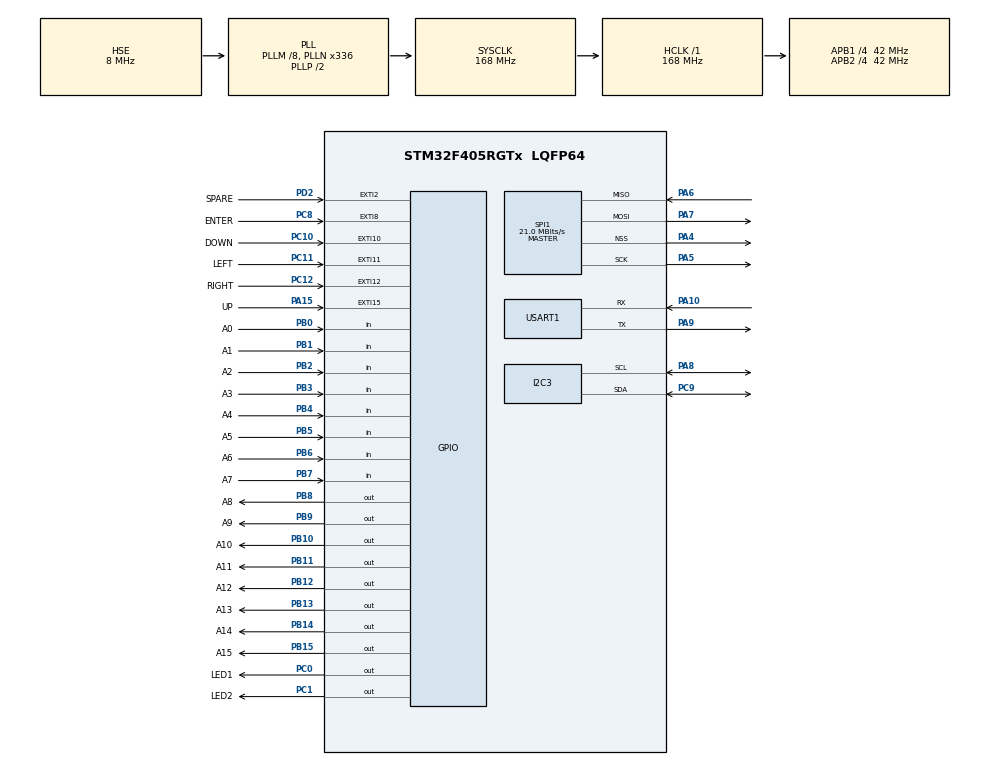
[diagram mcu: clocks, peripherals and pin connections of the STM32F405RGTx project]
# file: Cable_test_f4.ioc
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FREERTOS.Tasks01=defaultTask,0,128,StartDefaultTask,Default,NULL,Dynamic,NULL,NULL
Mcu.Family=STM32F4
Mcu.Name=STM32F405RGTx
Mcu.Package=LQFP64
NVIC.EXTI15_10_IRQn=true\:5\:0\:false\:false\:true\:true\:true\:true\:true
NVIC.EXTI2_IRQn=true\:5\:0\:false\:false\:true\:true\:true\:true\:true
NVIC.EXTI9_5_IRQn=true\:5\:0\:false\:false\:true\:true\:true\:true\:true
NVIC.PVD_IRQn=true\:5\:0\:false\:false\:true\:true\:true\:true\:true
NVIC.PriorityGroup=NVIC_PRIORITYGROUP_4
NVIC.TIM7_IRQn=true\:15\:0\:false\:false\:true\:false\:false\:true\:true
NVIC.TimeBase=TIM7_IRQn
NVIC.TimeBaseIP=TIM7
NVIC.USART1_IRQn=true\:5\:0\:false\:false\:true\:true\:true\:true\:true
PA10.Mode=Asynchronous
PA10.Signal=USART1_RX
PA13.Mode=Serial_Wire
PA13.Signal=SYS_JTMS-SWDIO
PA14.Mode=Serial_Wire
PA14.Signal=SYS_JTCK-SWCLK
PA15.GPIO_Label=UP
PA15.Signal=GPXTI15
PA4.Mode=NSS_Signal_Hard_Output
PA4.Signal=SPI1_NSS
PA5.Mode=Full_Duplex_Master
PA5.Signal=SPI1_SCK
PA6.Mode=Full_Duplex_Master
PA6.Signal=SPI1_MISO
PA7.Mode=Full_Duplex_Master
PA7.Signal=SPI1_MOSI
PA8.Mode=I2C
PA8.Signal=I2C3_SCL
PA9.Mode=Asynchronous
PA9.Signal=USART1_TX
PB0.GPIO_Label=A0
PB0.GPIO_PuPd=GPIO_PULLDOWN
PB0.Signal=GPIO_Input
PB1.GPIO_Label=A1
PB1.GPIO_PuPd=GPIO_PULLDOWN
PB1.Signal=GPIO_Input
PB10.GPIO_Label=A10
PB10.Signal=GPIO_Output
PB11.GPIO_Label=A11
PB11.Signal=GPIO_Output
PB12.GPIO_Label=A12
PB12.Signal=GPIO_Output
PB13.GPIO_Label=A13
PB13.Signal=GPIO_Output
PB14.GPIO_Label=A14
PB14.Signal=GPIO_Output
PB15.GPIO_Label=A15
PB15.Signal=GPIO_Output
PB2.GPIO_Label=A2
PB2.GPIO_PuPd=GPIO_PULLDOWN
PB2.Signal=GPIO_Input
PB3.GPIO_Label=A3
PB3.GPIO_PuPd=GPIO_PULLDOWN
PB3.Signal=GPIO_Input
PB4.GPIO_Label=A4
PB4.GPIO_PuPd=GPIO_PULLDOWN
PB4.Signal=GPIO_Input
PB5.GPIO_Label=A5
PB5.GPIO_PuPd=GPIO_PULLDOWN
PB5.Signal=GPIO_Input
PB6.GPIO_Label=A6
PB6.GPIO_PuPd=GPIO_PULLDOWN
PB6.Signal=GPIO_Input
PB7.GPIO_Label=A7
PB7.GPIO_PuPd=GPIO_PULLDOWN
PB7.Signal=GPIO_Input
PB8.GPIO_Label=A8
PB8.Signal=GPIO_Output
PB9.GPIO_Label=A9
PB9.Signal=GPIO_Output
PC0.GPIO_Label=LED1
PC0.Signal=GPIO_Output
PC1.GPIO_Label=LED2
PC1.Signal=GPIO_Output
PC10.GPIO_Label=DOWN
PC10.Signal=GPXTI10
PC11.GPIO_Label=LEFT
PC11.Signal=GPXTI11
PC12.GPIO_Label=RIGHT
PC12.Signal=GPXTI12
PC14-OSC32_IN.Mode=LSE-External-Oscillator
PC14-OSC32_IN.Signal=RCC_OSC32_IN
PC15-OSC32_OUT.Mode=LSE-External-Oscillator
PC15-OSC32_OUT.Signal=RCC_OSC32_OUT
PC8.GPIO_Label=ENTER
PC8.Signal=GPXTI8
PC9.Mode=I2C
PC9.Signal=I2C3_SDA
PD2.GPIO_Label=SPARE
PD2.Signal=GPXTI2
PH0-OSC_IN.Mode=HSE-External-Oscillator
PH0-OSC_IN.Signal=RCC_OSC_IN
PH1-OSC_OUT.Mode=HSE-External-Oscillator
PH1-OSC_OUT.Signal=RCC_OSC_OUT
ProjectManager.HeapSize=0x200
ProjectManager.StackSize=0x400
ProjectManager.TargetToolchain=STM32CubeIDE
RCC.48MHZClocksFreq_Value=84000000
RCC.AHBFreq_Value=168000000
RCC.APB1CLKDivider=RCC_HCLK_DIV4
RCC.APB1Freq_Value=42000000
RCC.APB1TimFreq_Value=84000000
RCC.APB2CLKDivider=RCC_HCLK_DIV4
RCC.APB2Freq_Value=42000000
RCC.APB2TimFreq_Value=84000000
RCC.CortexFreq_Value=168000000
RCC.HCLKFreq_Value=168000000
RCC.HSE_VALUE=8000000
RCC.HSI_VALUE=16000000
RCC.PLLM=8
RCC.PLLN=336
RCC.PLLSourceVirtual=RCC_PLLSOURCE_HSE
RCC.SYSCLKFreq_VALUE=168000000
RCC.SYSCLKSource=RCC_SYSCLKSOURCE_PLLCLK
RCC.VCOOutputFreq_Value=336000000
SPI1.BaudRatePrescaler=SPI_BAUDRATEPRESCALER_2
SPI1.CalculateBaudRate=21.0 MBits/s
SPI1.Direction=SPI_DIRECTION_2LINES
SPI1.Mode=SPI_MODE_MASTER
SPI1.VirtualNSS=VM_NSSHARD
SPI1.VirtualType=VM_MASTER
USART1.VirtualMode=VM_ASYNC
VP_FREERTOS_VS_CMSIS_V1.Mode=CMSIS_V1
VP_SYS_VS_tim7.Mode=TIM7
board=custom

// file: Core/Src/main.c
/* USER CODE BEGIN Header */
/**
  ******************************************************************************
  * @file           : main.c
  * @brief          : Main program body
  ******************************************************************************
  * @attention
  *
  * Copyright (c) 2026 STMicroelectronics.
  * All rights reserved.
  *
  * This software is licensed under terms that can be found in the LICENSE file
  * in the root directory of this software component.
  * If no LICENSE file comes with this software, it is provided AS-IS.
  *
  ******************************************************************************
  */
/* USER CODE END Header */
#include "main.h"
#include "cmsis_os.h"
#include "i2c.h"
#include "spi.h"
#include "usart.h"
#include "gpio.h"

/* USER CODE BEGIN Includes */
#include "Menu_Functions.h"
#include "button_function.h"
/* USER CODE END Includes */

/* USER CODE BEGIN PD */
void write_port(uint8_t);
void Delay(uint32_t);
void Cable_Check(void);
uint8_t __read_PIN__(void);
 int8_t (*profile_lcd_menu)() = &Menu_Cable_Select;
 void (*Port_Set)(uint8_t ) = write_port;
 uint8_t (*Read_Pin)() = __read_PIN__;
 void (*sleep_ms)(uint32_t) = Delay;

/* USER CODE END PD */

void SystemClock_Config(void);
void MX_FREERTOS_Init(void);

int main(void)
{
  /* USER CODE BEGIN 1 */

	In_profile[0][0] = 0x01;
	In_profile[0][1] = 0x02;
	In_profile[0][2] = 0x04;
	In_profile[0][3] = 0x08;
	In_profile[0][4] = 0x10;
	In_profile[0][5] = 0x20;
	In_profile[0][6] = 0x40;
	In_profile[0][7] = 0x80;

	Out_profile[0][0] = 0x01;
	Out_profile[0][1] = 0x02;
	Out_profile[0][2] = 0x04;
	Out_profile[0][3] = 0x08;
	Out_profile[0][4] = 0x10;
	Out_profile[0][5] = 0x20;
	Out_profile[0][6] = 0x40;
	Out_profile[0][7] = 0x80;

	In_profile[1][0] = 0x00;
	In_profile[1][1] = 0x02;
	In_profile[1][2] = 0x04;
	In_profile[1][3] = 0x08;
	In_profile[1][4] = 0x10;
	In_profile[1][5] = 0x20;
	In_profile[1][6] = 0x40;
	In_profile[1][7] = 0x80;

	Out_profile[1][0] = 0x01;
	Out_profile[1][1] = 0x02;
	Out_profile[1][2] = 0x04;
	Out_profile[1][3] = 0x08;
	Out_profile[1][4] = 0x10;
	Out_profile[1][5] = 0x20;
	Out_profile[1][6] = 0x40;
	Out_profile[1][7] = 0x80;
  /* USER CODE END 1 */

  /* MCU Configuration--------------------------------------------------------*/

  /* Reset of all peripherals, Initializes the Flash interface and the Systick. */
  HAL_Init();

  /* Configure the system clock */
  SystemClock_Config();

  /* Initialize all configured peripherals */
  MX_GPIO_Init();
  MX_I2C3_Init();
  MX_SPI1_Init();
  MX_USART1_UART_Init();
  /* USER CODE BEGIN 2 */
  lcd_init();
  lcd_gotoxy(0, 0);
  lcd_puts("Hello");
  lcd_gotoxy(0, 2);
  lcd_puts_invert("world!");
  lcd_gotoxy(7, 2);
  lcd_puts_color("It oled", White);
  //lcd_update();

  /* USER CODE END 2 */

  /* Call init function for freertos objects (in freertos.c) */
  MX_FREERTOS_Init();

  /* Start scheduler */
  osKernelStart();

  /* We should never get here as control is now taken by the scheduler */
  /* Infinite loop */
  while (1)
  {

    /* USER CODE BEGIN 3 */
	  switch(page)
	  {
	  	  case MAIN_PAGE:
	         Menu_Main();
	         main_menu_button_manager_func();
	         break;
	  	  case RUN_TEST_PAGE:
	         Menu_Run_Test();
	         run_test_button_manager_func();
	         break;
	     case CABLE_SELSECT_PAGE:
	         Menu_Cable_Select();
	         cable_select_button_manager_func();
	         break;
	      case CABLE_DEFINE_PAGE:
	         Menu_Cable_Define();
	         cable_define_button_manager_func();
	         break;
	     case ABOUT_ME_PAGE:
	         Menu_About_Me();
	         about_me_button_manager_func();
	         break;
	  }
	  HAL_Delay(150);
  }
  /* USER CODE END 3 */
}

void SystemClock_Config(void)
{
  RCC_OscInitTypeDef RCC_OscInitStruct = {0};
  RCC_ClkInitTypeDef RCC_ClkInitStruct = {0};

  /** Configure the main internal regulator output voltage
  */
  __HAL_RCC_PWR_CLK_ENABLE();
  __HAL_PWR_VOLTAGESCALING_CONFIG(PWR_REGULATOR_VOLTAGE_SCALE1);

  /** Initializes the RCC Oscillators according to the specified parameters
  * in the RCC_OscInitTypeDef structure.
  */
  RCC_OscInitStruct.OscillatorType = RCC_OSCILLATORTYPE_HSE;
  RCC_OscInitStruct.HSEState = RCC_HSE_ON;
  RCC_OscInitStruct.PLL.PLLState = RCC_PLL_ON;
  RCC_OscInitStruct.PLL.PLLSource = RCC_PLLSOURCE_HSE;
  RCC_OscInitStruct.PLL.PLLM = 8;
  RCC_OscInitStruct.PLL.PLLN = 336;
  RCC_OscInitStruct.PLL.PLLP = RCC_PLLP_DIV2;
  RCC_OscInitStruct.PLL.PLLQ = 4;
  if (HAL_RCC_OscConfig(&RCC_OscInitStruct) != HAL_OK)
  {
    Error_Handler();
  }

  /** Initializes the CPU, AHB and APB buses clocks
  */
  RCC_ClkInitStruct.ClockType = RCC_CLOCKTYPE_HCLK|RCC_CLOCKTYPE_SYSCLK
                              |RCC_CLOCKTYPE_PCLK1|RCC_CLOCKTYPE_PCLK2;
  RCC_ClkInitStruct.SYSCLKSource = RCC_SYSCLKSOURCE_PLLCLK;
  RCC_ClkInitStruct.AHBCLKDivider = RCC_SYSCLK_DIV1;
  RCC_ClkInitStruct.APB1CLKDivider = RCC_HCLK_DIV4;
  RCC_ClkInitStruct.APB2CLKDivider = RCC_HCLK_DIV4;

  if (HAL_RCC_ClockConfig(&RCC_ClkInitStruct, FLASH_LATENCY_5) != HAL_OK)
  {
    Error_Handler();
  }
}

/* USER CODE BEGIN 4 */

void write_port(uint8_t In_value)
{
    uint32_t bsrr = 0;

    // Reset PB8–PB15
    bsrr |= (0xFF << (8 + 16));

    // Set PB8–PB15 according to data
    bsrr |= ((uint32_t)In_value << 8);

    GPIOB->BSRR = bsrr;
}

void Delay(uint32_t T){
	HAL_Delay(T);
}

uint8_t __read_PIN__(void)
{
	uint8_t Input;
	Input =(uint8_t) (GPIOB->IDR & 0x00ff);

	return Input;

}
/* USER CODE END 4 */

void HAL_TIM_PeriodElapsedCallback(TIM_HandleTypeDef *htim)
{
  if (htim->Instance == TIM7) {
    HAL_IncTick();
  }
}

void Error_Handler(void)
{
  __disable_irq();
  while (1)
  {
  }
}

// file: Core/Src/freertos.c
/* USER CODE BEGIN Header */
/**
  ******************************************************************************
  * File Name          : freertos.c
  * Description        : Code for freertos applications
  ******************************************************************************
  * @attention
  *
  * Copyright (c) 2026 STMicroelectronics.
  * All rights reserved.
  *
  * This software is licensed under terms that can be found in the LICENSE file
  * in the root directory of this software component.
  * If no LICENSE file comes with this software, it is provided AS-IS.
  *
  ******************************************************************************
  */
/* USER CODE END Header */

#include "FreeRTOS.h"
#include "task.h"
#include "main.h"
#include "cmsis_os.h"

/* USER CODE BEGIN Includes */
#include "cli_command.h"

/* USER CODE END Includes */

/* USER CODE BEGIN Variables */
osThreadId clitaskkHandle;
uint8_t buf;
uint8_t recflag=0;
/* USER CODE END Variables */
osThreadId defaultTaskHandle;

/* USER CODE BEGIN FunctionPrototypes */
void cli_task(void const * argument);
void writeChar(EmbeddedCli *embeddedCli, char c);
void led(EmbeddedCli *cli, char *args, void *context);
void led_off(EmbeddedCli *cli, char *args, void *context);
/* USER CODE END FunctionPrototypes */

void StartDefaultTask(void const * argument);

void MX_FREERTOS_Init(void); /* (MISRA C 2004 rule 8.1) */

/* GetIdleTaskMemory prototype (linked to static allocation support) */
void vApplicationGetIdleTaskMemory( StaticTask_t **ppxIdleTaskTCBBuffer, StackType_t **ppxIdleTaskStackBuffer, uint32_t *pulIdleTaskStackSize );

/* USER CODE BEGIN GET_IDLE_TASK_MEMORY */
static StaticTask_t xIdleTaskTCBBuffer;
static StackType_t xIdleStack[configMINIMAL_STACK_SIZE];

void vApplicationGetIdleTaskMemory( StaticTask_t **ppxIdleTaskTCBBuffer, StackType_t **ppxIdleTaskStackBuffer, uint32_t *pulIdleTaskStackSize )
{
  *ppxIdleTaskTCBBuffer = &xIdleTaskTCBBuffer;
  *ppxIdleTaskStackBuffer = &xIdleStack[0];
  *pulIdleTaskStackSize = configMINIMAL_STACK_SIZE;
  /* place for user code */
}
/* USER CODE END GET_IDLE_TASK_MEMORY */

void MX_FREERTOS_Init(void) {

  /* Create the thread(s) */
  /* definition and creation of defaultTask */
  osThreadDef(defaultTask, StartDefaultTask, osPriorityNormal, 0, 128);
  defaultTaskHandle = osThreadCreate(osThread(defaultTask), NULL);

  /* USER CODE BEGIN RTOS_THREADS */
  //osThreadDef(clitask,cli_task, osPriorityNormal, 0, 128);
  //clitaskkHandle = osThreadCreate(osThread(clitask), NULL);
  /* add threads, ... */
  /* USER CODE END RTOS_THREADS */

}

void StartDefaultTask(void const * argument)
{
  /* USER CODE BEGIN StartDefaultTask */
	  osThreadDef(clitask,cli_task, osPriorityNormal, 0, 128);
	  clitaskkHandle = osThreadCreate(osThread(clitask), NULL);
	  osThreadTerminate(defaultTaskHandle);
  /* Infinite loop */
  for(;;)
  {
    osDelay(100);
    HAL_GPIO_TogglePin(LED1_GPIO_Port, LED1_Pin);
  }
  /* USER CODE END StartDefaultTask */
}

/* USER CODE BEGIN Application */

void cli_task(void const * argument)
{

	cli_init();
	//CliCommandBinding binding1 = {"led", "LEDX will turn on and off", false, NULL, led};
	//embeddedCliAddBinding(cli, binding1);

	while(1)
	{
		osDelay(100);
		embeddedCliProcess(cli);
		if(recflag == 1)
		{
			recflag = 0;
			embeddedCliReceiveChar(cli, buf);
		}

	}
}

void HAL_UART_RxCpltCallback(UART_HandleTypeDef *huart)
{

	 recflag = 1;
	 HAL_UART_Receive_IT(&huart1,&buf,1);
}

/* USER CODE END Application */
